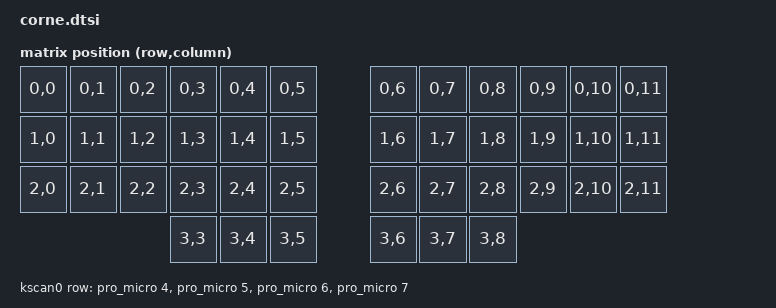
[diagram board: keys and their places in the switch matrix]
/*
 * Copyright (c) 2020 Pete Johanson
 *
 * SPDX-License-Identifier: MIT
 */
#include <dt-bindings/led/led.h>
#include <dt-bindings/zmk/matrix_transform.h>
#include "corne-layouts.dtsi"
/ {
	chosen {
		zephyr,display = &oled;
		zmk,kscan = &kscan0;
		zmk,physical-layout = &layout_0;
	};

	default_transform: keymap_transform_0 {
		compatible = "zmk,matrix-transform";
		columns = <12>;
		rows = <4>;
// | SW1  | SW2  | SW3  | SW4  | SW5  | SW6  |   | SW6  | SW5  | SW4  | SW3  | SW2  | SW1  |
// | SW7  | SW8  | SW9  | SW10 | SW11 | SW12 |   | SW12 | SW11 | SW10 | SW9  | SW8  | SW7  |
// | SW13 | SW14 | SW15 | SW16 | SW17 | SW18 |   | SW18 | SW17 | SW16 | SW15 | SW14 | SW13 |
//                      | SW19 | SW20 | SW21 |   | SW21 | SW20 | SW19 |
		map = <
RC(0,0) RC(0,1) RC(0,2) RC(0,3) RC(0,4) RC(0,5)  RC(0,6)  RC(0,7) RC(0,8) RC(0,9) RC(0,10) RC(0,11)
RC(1,0) RC(1,1) RC(1,2) RC(1,3) RC(1,4) RC(1,5)  RC(1,6)  RC(1,7) RC(1,8) RC(1,9) RC(1,10) RC(1,11)
RC(2,0) RC(2,1) RC(2,2) RC(2,3) RC(2,4) RC(2,5)  RC(2,6)  RC(2,7) RC(2,8) RC(2,9) RC(2,10) RC(2,11)
                        RC(3,3) RC(3,4) RC(3,5)  RC(3,6) RC(3,7) RC(3,8)
		>;
	};

	 kscan0: kscan {
        compatible = "zmk,kscan-gpio-matrix";
        label = "KSCAN";

        wakeup-source;
        diode-direction = "col2row";
		row-gpios
			= <&pro_micro 4 (GPIO_ACTIVE_HIGH | GPIO_PULL_DOWN)>
			, <&pro_micro 5 (GPIO_ACTIVE_HIGH | GPIO_PULL_DOWN)>
			, <&pro_micro 6 (GPIO_ACTIVE_HIGH | GPIO_PULL_DOWN)>
			, <&pro_micro 7 (GPIO_ACTIVE_HIGH | GPIO_PULL_DOWN)>
			;
    };

    split_inputs {
        #address-cells = <1>;
        #size-cells = <0>;

        tps43_split: tps43_split@74 {
            compatible = "zmk,input-split";
            reg = <0x74>;
        };
    };

    tps43_listener: tps43_listener {
        compatible = "zmk,input-listener";
        status = "disabled";
        device = <&tps43_split>;
    };
};
// oled,I2c
&pinctrl {
       i2c0_default: i2c0_default {
               group1 {
                       psels = <NRF_PSEL(TWIM_SDA, 0, 17)>,
                               <NRF_PSEL(TWIM_SCL, 0, 20)>;
               };
       };

       i2c0_sleep: i2c0_sleep {
               group1 {
                       psels = <NRF_PSEL(TWIM_SDA, 0, 17)>,
                               <NRF_PSEL(TWIM_SCL, 0, 20)>;
                       low-power-enable;
               };
       };
};


&pro_micro_i2c {
    status = "okay";

    oled: ssd1306@3c {
        compatible = "solomon,ssd1306fb";
        reg = <0x3c>;
        width = <128>;
        height = <32>;
        segment-offset = <0>;
        page-offset = <0>;
        display-offset = <0>;
        multiplex-ratio = <31>;
        segment-remap;
        com-invdir;
        com-sequential;
        inversion-on;
        prechargep = <0x22>;
    };
};
// rgb,SPI
&pinctrl {
    spi3_default: spi3_default {
        group1 {
            psels = <NRF_PSEL(SPIM_MOSI, 0, 6)>;
        };
    };

    spi3_sleep: spi3_sleep {
        group1 {
            psels = <NRF_PSEL(SPIM_MOSI, 0, 6)>;
            low-power-enable;
		};
	};
};

&spi3 {
	compatible = "nordic,nrf-spim";
	status = "okay";

	pinctrl-0 = <&spi3_default>;
	pinctrl-1 = <&spi3_sleep>;
	pinctrl-names = "default", "sleep";


	led_strip: ws2812@0 {
		compatible = "worldsemi,ws2812-spi";
		label = "WS2812";

		/* SPI */
		reg = <0>; /* ignored, but necessary for SPI bindings */
		spi-max-frequency = <4000000>;

		/* WS2812 */
		chain-length = <27>; /* There are per-key RGB, but the first 6 are underglow */
		spi-one-frame = <0x70>;
		spi-zero-frame = <0x40>;
		color-mapping = <LED_COLOR_ID_GREEN LED_COLOR_ID_RED LED_COLOR_ID_BLUE>;
	};
};

/ {
	chosen {
		zmk,underglow = &led_strip;
	};
};
